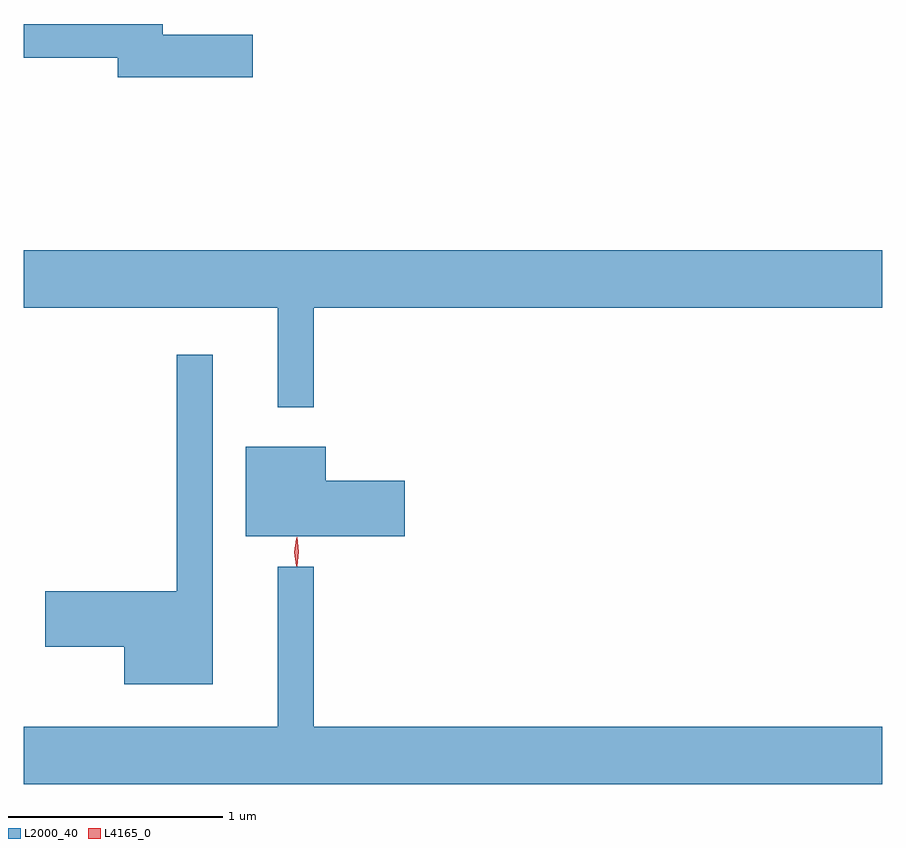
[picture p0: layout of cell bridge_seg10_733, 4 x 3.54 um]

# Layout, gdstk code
import gdstk
lib = gdstk.Library(unit=1e-6, precision=1e-09)
def P(c, l, *ps):  # polygons
    for p in ps: c.add(gdstk.Polygon(p, *l))
L2000_40 = (2000, 40)
L4165_0 = (4165, 0)

bridge_seg10_733 = lib.new_cell('bridge_seg10_733')
P(bridge_seg10_733, L2000_40, [(510.784,2188.449),(510.364,2188.449),(510.364,2188.499),(509.718,2188.499),(509.718,2188.341),(510.156,2188.341),(510.156,2188.251),(510.784,2188.251)],
  [(511.069,2187.176),(513.718,2187.176),(513.718,2187.444),(509.718,2187.444),(509.718,2187.176),(510.901,2187.176),(510.901,2186.713),(511.069,2186.713)],
  [(510.599,2186.958),(510.431,2186.958),(510.431,2185.854),(509.816,2185.854),(509.816,2185.596),(510.186,2185.596),(510.186,2185.421),(510.599,2185.421)],
  [(511.494,2186.369),(511.124,2186.369),(511.124,2186.529),(510.751,2186.529),(510.751,2186.111),(511.494,2186.111)],
  [(513.718,2185.224),(511.069,2185.224),(511.069,2185.968),(510.901,2185.968),(510.901,2185.224),(509.718,2185.224),(509.718,2184.956),(513.718,2184.956)])
P(bridge_seg10_733, L4165_0, [(510.99,2185.97),(510.99,2185.97),(510.98,2186.038),(510.99,2186.106),(510.99,2186.106),(510.991,2186.106),(511,2186.038),(510.991,2185.97)],
  [(510.988,2185.973),(510.987,2185.974),(510.978,2186.036),(510.987,2186.1),(510.988,2186.1),(510.988,2186.1),(510.998,2186.036),(510.988,2185.974)])

lib.write_gds('bridge_seg10_733.gds')
